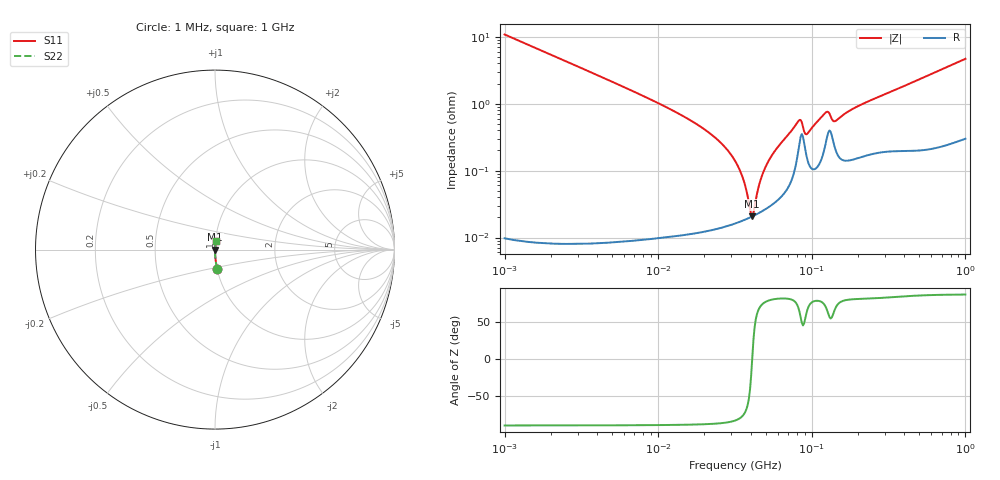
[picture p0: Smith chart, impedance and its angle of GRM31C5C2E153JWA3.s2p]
!Murata Part Number: GRM31C5C2E153JWA3
!These Parameters are Measured in Series Mode Connection
!Data Generated on Mar 30, 2021
!  o--ll--o
!Port1  Port2
!  o------o
!Operation Temp=25[degC], DC Bias Voltage=0[V]
!Freq. Start=1000[kHz] Stop=1000[MHz] 401[Steps]
# Hz S RI R 50
!Freq.(Hz) S11(Real) S11(Imag) S21(Real) S21(Imag) S12(Real) S12(Imag) S22(Real) S22(Imag)
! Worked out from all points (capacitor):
!   401 points, 1 MHz to 1 GHz, reference 50 ohm
!   read as one part in series: C = 14.7 nF near 1.035 MHz
!   lowest |Z| = 20.7 mohm at 40.97 MHz (marker M1)
!   series resonance near 40.93 MHz, so ESL is about 1 nH
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1000000  0.0117 -0.1071  0.9883 0.1071  0.9883 0.1071  0.0117 -0.1071
3180534  0.00123 -0.0338  0.9988 0.0338  0.9988 0.0338  0.00123 -0.0338
1.01158e7  0.000199 -0.0101  0.9998 0.0101  0.9998 0.0101  0.000199 -0.0101
2.12569e7  0.00014 -0.00374  0.9999 0.00374  0.9999 0.00374  0.00014 -0.00374
2.660725e7  0.000148 -0.00237  0.9999 0.00237  0.9999 0.00237  0.000148 -0.00237
3.162278e7  0.000164 -0.0014  0.9998 0.0014  0.9998 0.0014  0.000164 -0.0014
3.568618e7  0.00018 -0.000738  0.9998 0.000738  0.9998 0.000738  0.00018 -0.000738
3.958221e7  0.000199 -0.00018  0.9998 0.00018  0.9998 0.00018  0.000199 -0.00018
4.097321e7  0.000207 6e-06  0.9998 -6e-06  0.9998 -6e-06  0.000207 6e-06
4.24131e7  0.000215 0.000193  0.9998 -0.000193  0.9998 -0.000193  0.000215 0.000193
4.544645e7  0.000234 0.000571  0.9998 -0.000571  0.9998 -0.000571  0.000234 0.000571
4.786301e7  0.000251 0.000858  0.9997 -0.000858  0.9997 -0.000858  0.000251 0.000858
5.78762e7  0.000341 0.00198  0.9997 -0.00198  0.9997 -0.00198  0.000341 0.00198
8.17523e7  0.00203 0.0051  0.998 -0.0051  0.998 -0.0051  0.00203 0.0051
8.462526e7  0.00324 0.00469  0.9968 -0.00469  0.9968 -0.00469  0.00324 0.00469
9.225714e7  0.00169 0.00304  0.9983 -0.00304  0.9983 -0.00304  0.00169 0.00304
1.005773e8  0.00107 0.00428  0.9989 -0.00428  0.9989 -0.00428  0.00107 0.00428
1.237371e8  0.00273 0.00691  0.9973 -0.00691  0.9973 -0.00691  0.00273 0.00691
1.420692e8  0.00214 0.00505  0.9979 -0.00505  0.9979 -0.00505  0.00214 0.00505
1.905461e8  0.00156 0.00855  0.9984 -0.00855  0.9984 -0.00855  0.00156 0.00855
3.198895e8  0.00214 0.0146  0.9979 -0.0146  0.9979 -0.0146  0.00214 0.0146
1e9  0.00515 0.0464  0.9948 -0.0464  0.9948 -0.0464  0.00515 0.0464
